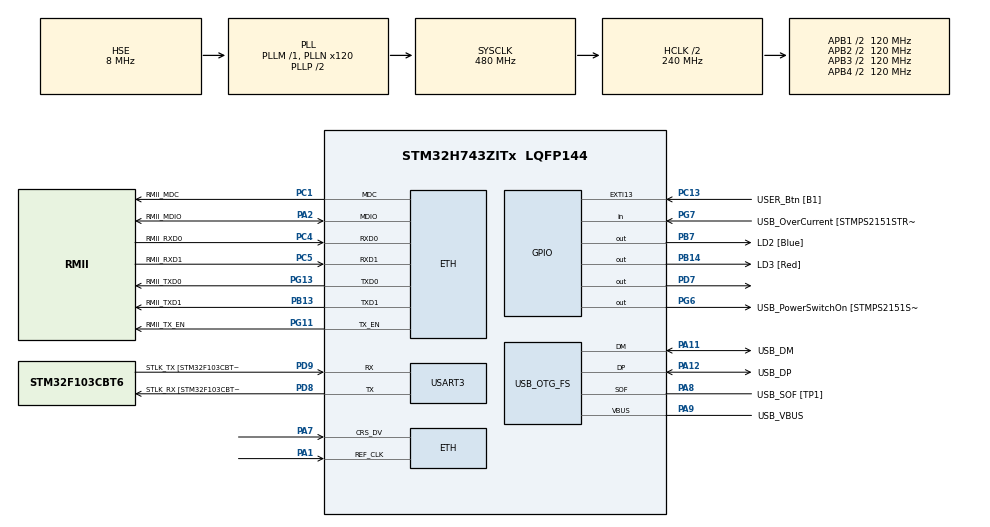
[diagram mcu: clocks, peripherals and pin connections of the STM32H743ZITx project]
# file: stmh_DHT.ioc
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Mcu.Family=STM32H7
RCC.CortexFreq_Value=480000000
PG6.Signal=GPIO_Output
RCC.HPRE=RCC_HCLK_DIV2
PH0-OSC_IN\ (PH0).Signal=RCC_OSC_IN
PB14.GPIO_Label=LD3 [Red]
PG6.GPIO_Label=USB_PowerSwitchOn [STMPS2151STR_EN]
PC15-OSC32_OUT\ (OSC32_OUT).Mode=LSE-External-Oscillator
RCC.SYSCLKSourceVirtual=RCC_SYSCLKSOURCE_PLLCLK
RCC.PLLFRACN=0
PA11.Mode=Device_Only
RCC.PLL2FRACN=0
PC5.Mode=RMII
PC13.GPIO_Label=USER_Btn [B1]
PB13.GPIO_Label=RMII_TXD1
PB13.Signal=ETH_TXD1
PG13.Signal=ETH_TXD0
PD9.Mode=Asynchronous
PG11.Signal=ETH_TX_EN
RCC.SYSCLKSource=RCC_SYSCLKSOURCE_PLLCLK
ProjectManager.StackSize=0x400
USART3.VirtualMode-Asynchronous=VM_ASYNC
PA12.Signal=USB_OTG_FS_DP
RCC.HCLKFreq_Value=240000000
RCC.APB2TimFreq_Value=216000000
PD8.Signal=USART3_TX
RCC.AHBFreq_Value=216000000
PH1-OSC_OUT\ (PH1).Mode=HSE-External-Oscillator
RCC.HSE_VALUE=8000000
RCC.DIVM1=1
RCC.PLLMUL=RCC_PLL_MUL9
PC4.GPIO_Label=RMII_RXD0
PA10.GPIO_Label=USB_ID
PB7.Signal=GPIO_Output
PA8.Signal=USB_OTG_FS_SOF
PG13.Mode=RMII
RCC.APB3Freq_Value=120000000
PB7.GPIO_Label=LD2 [Blue]
Mcu.Package=LQFP144
RCC.PLL3FRACN=0
RCC.D1PPRE=RCC_APB3_DIV2
PA2.GPIO_Label=RMII_MDIO
PA10.Signal=USB_OTG_FS_ID
USB_OTG_FS.VirtualMode=Device_Only
PC14-OSC32_IN\ (OSC32_IN).Mode=LSE-External-Oscillator
RCC.APB2CLKDivider=RCC_HCLK_DIV2
RCC.APB4Freq_Value=120000000
RCC.APB1TimFreq_Value=108000000
PG11.GPIO_Label=RMII_TX_EN
PC5.Signal=ETH_RXD1
PB13.Mode=RMII
PH0-OSC_IN\ (PH0).Mode=HSE-External-Oscillator
PC4.Mode=RMII
RCC.DIVQ1=20
PA7.Mode=RMII
PG7.Signal=GPIO_Input
PD9.GPIO_Label=STLK_TX [STM32F103CBT6_PA2]
PC13.Signal=GPXTI13
PA9.GPIO_Label=USB_VBUS
PC4.Signal=ETH_RXD0
PD7.Signal=GPIO_Output
RCC.D2PPRE2=RCC_APB2_DIV2
PA11.GPIO_Label=USB_DM
RCC.D2PPRE1=RCC_APB1_DIV2
PD9.Signal=USART3_RX
RCC.APB1CLKDivider=RCC_HCLK_DIV4
PG13.GPIO_Label=RMII_TXD0
PA12.GPIO_Label=USB_DP
RCC.PWR_Regulator_Voltage_Scale=PWR_REGULATOR_VOLTAGE_SCALE1
PH1-OSC_OUT\ (PH1).Signal=RCC_OSC_OUT
PD8.GPIO_Label=STLK_RX [STM32F103CBT6_PA3]
PA9.Mode=Activate_VBUS
PA8.GPIO_Label=USB_SOF [TP1]
ProjectManager.TargetToolchain=TrueSTUDIO
PC15-OSC32_OUT\ (OSC32_OUT).Signal=RCC_OSC32_OUT
PA9.Signal=USB_OTG_FS_VBUS
RCC.DIVN1=120
RCC.USBFreq_Value=48000000
PD8.Mode=Asynchronous
PA1.Signal=ETH_REF_CLK
PB14.Signal=GPIO_Output
board=NUCLEO-H743ZI
RCC.VCOOutputFreq_Value=432000000
RCC.APB2Freq_Value=120000000
PA1.Mode=RMII
RCC.PRESCALERUSB=RCC_USBCLKSOURCE_PLL_DIV1_5
VP_TIM2_VS_ClockSourceINT.Mode=Internal
PG7.GPIO_Label=USB_OverCurrent [STMPS2151STR_FAULT]
RCC.ADCFreq_Value=16125000
PC1.GPIO_Label=RMII_MDC
Mcu.Name=STM32H743ZITx
PA2.Signal=ETH_MDIO
RCC.48MHZClocksFreq_Value=24000000
RCC.SYSCLKFreq_VALUE=480000000
ETH.MediaInterface=HAL_ETH_RMII_MODE
PA12.Mode=Device_Only
PC5.GPIO_Label=RMII_RXD1
PC14-OSC32_IN\ (OSC32_IN).Signal=RCC_OSC32_IN
PG11.Mode=RMII
PA11.Signal=USB_OTG_FS_DM
ProjectManager.HeapSize=0x200
RCC.HSI_VALUE=64000000
RCC.PLLQ=9
NVIC.PriorityGroup=NVIC_PRIORITYGROUP_4
PH0-OSC_IN\ (PH0).GPIO_Label=MCO
RCC.PLLM=25
RCC.PLLN=432
PA2.Mode=RMII
RCC.D3PPRE=RCC_APB4_DIV2
PA8.Mode=Activate_SOF_FS
RCC.APB1Freq_Value=120000000
PC1.Signal=ETH_MDC
PC1.Mode=RMII
PA7.Signal=ETH_CRS_DV

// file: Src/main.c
/* USER CODE BEGIN Header */
/**
  ******************************************************************************
  * @file           : main.c
  * @brief          : Main program body
  ******************************************************************************
  * @attention
  *
  * <h2><center>&copy; Copyright (c) 2021 STMicroelectronics.
  * All rights reserved.</center></h2>
  *
  * This software component is licensed by ST under BSD 3-Clause license,
  * the "License"; You may not use this file except in compliance with the
  * License. You may obtain a copy of the License at:
  *                        opensource.org/licenses/BSD-3-Clause
  *
  ******************************************************************************
  */
/* USER CODE END Header */

#include "main.h"
#include "string.h"

#if defined ( __ICCARM__ ) /*!< IAR Compiler */

#pragma location=0x30040000
ETH_DMADescTypeDef  DMARxDscrTab[ETH_RX_DESC_CNT]; /* Ethernet Rx DMA Descriptors */
#pragma location=0x30040060
ETH_DMADescTypeDef  DMATxDscrTab[ETH_TX_DESC_CNT]; /* Ethernet Tx DMA Descriptors */
#pragma location=0x30040200
uint8_t Rx_Buff[ETH_RX_DESC_CNT][ETH_MAX_PACKET_SIZE]; /* Ethernet Receive Buffers */

#elif defined ( __CC_ARM )  /* MDK ARM Compiler */

__attribute__((at(0x30040000))) ETH_DMADescTypeDef  DMARxDscrTab[ETH_RX_DESC_CNT]; /* Ethernet Rx DMA Descriptors */
__attribute__((at(0x30040060))) ETH_DMADescTypeDef  DMATxDscrTab[ETH_TX_DESC_CNT]; /* Ethernet Tx DMA Descriptors */
__attribute__((at(0x30040200))) uint8_t Rx_Buff[ETH_RX_DESC_CNT][ETH_MAX_PACKET_SIZE]; /* Ethernet Receive Buffer */

#elif defined ( __GNUC__ ) /* GNU Compiler */

ETH_DMADescTypeDef DMARxDscrTab[ETH_RX_DESC_CNT] __attribute__((section(".RxDecripSection"))); /* Ethernet Rx DMA Descriptors */
ETH_DMADescTypeDef DMATxDscrTab[ETH_TX_DESC_CNT] __attribute__((section(".TxDecripSection")));   /* Ethernet Tx DMA Descriptors */
uint8_t Rx_Buff[ETH_RX_DESC_CNT][ETH_MAX_PACKET_SIZE] __attribute__((section(".RxArraySection"))); /* Ethernet Receive Buffers */

#endif

ETH_TxPacketConfig TxConfig;

ETH_HandleTypeDef heth;

TIM_HandleTypeDef htim2;

UART_HandleTypeDef huart3;

PCD_HandleTypeDef hpcd_USB_OTG_FS;

void SystemClock_Config(void);
static void MX_GPIO_Init(void);
static void MX_ETH_Init(void);
static void MX_TIM2_Init(void);
static void MX_USART3_UART_Init(void);
static void MX_USB_OTG_FS_PCD_Init(void);
/* USER CODE BEGIN PFP */
uint16_t g[100];

/* USER CODE END PFP */

/* USER CODE BEGIN 0 */
void delay (uint16_t time)
{
	/* change your code here for the delay in microseconds */

	__HAL_TIM_SET_COUNTER(&htim2, 0);
	while ((__HAL_TIM_GET_COUNTER(&htim2))<time);
}

uint8_t Rh_byte1, Rh_byte2, Temp_byte1, Temp_byte2;
uint16_t SUM, RH, TEMP;

float Temperature = 0;
float Humidity = 0;
uint8_t Presence = 0;

void Set_Pin_Output (GPIO_TypeDef *GPIOx, uint16_t GPIO_Pin)
{
	GPIO_InitTypeDef GPIO_InitStruct = {0};
	GPIO_InitStruct.Pin = GPIO_Pin;
	GPIO_InitStruct.Mode = GPIO_MODE_OUTPUT_PP;
	GPIO_InitStruct.Speed = GPIO_SPEED_FREQ_LOW;
	HAL_GPIO_Init(GPIOx, &GPIO_InitStruct);
}

void Set_Pin_Input (GPIO_TypeDef *GPIOx, uint16_t GPIO_Pin)
{
	GPIO_InitTypeDef GPIO_InitStruct = {0};
	GPIO_InitStruct.Pin = GPIO_Pin;
	GPIO_InitStruct.Mode = GPIO_MODE_INPUT;
	GPIO_InitStruct.Pull = GPIO_PULLUP;
	HAL_GPIO_Init(GPIOx, &GPIO_InitStruct);
}

void DHT11_Start (void)
{
	Set_Pin_Output(DHT22_GPIO_Port, DHT22_Pin);  // set the pin as output
	HAL_GPIO_WritePin (DHT22_GPIO_Port, DHT22_Pin, 0);   // pull the pin low
	delay (18000);   // wait for 18ms
    HAL_GPIO_WritePin (DHT22_GPIO_Port, DHT22_Pin, 1);   // pull the pin high
	delay (20);   // wait for 20us
	Set_Pin_Input(DHT22_GPIO_Port, DHT22_Pin);    // set as input
}

uint8_t DHT11_Check_Response (void)
{
	uint8_t Response = 0;
	delay (40);
	if (!(HAL_GPIO_ReadPin (DHT22_GPIO_Port, DHT22_Pin)))
	{
		delay (80);
		if ((HAL_GPIO_ReadPin (DHT22_GPIO_Port, DHT22_Pin))) Response = 1;
		else Response = -1; // 255
	}
	while ((HAL_GPIO_ReadPin (DHT22_GPIO_Port, DHT22_Pin)));   // wait for the pin to go low

	return Response;
}

uint8_t DHT11_Read (void)
{
	uint8_t i,j;
	for (j=0;j<8;j++)
	{
		while (!(HAL_GPIO_ReadPin (DHT22_GPIO_Port, DHT22_Pin)));   // wait for the pin to go high
		delay (40);   // wait for 40 us
		if (!(HAL_GPIO_ReadPin (DHT22_GPIO_Port, DHT22_Pin)))   // if the pin is low
		{
			i&= ~(1<<(7-j));   // write 0
		}
		else i|= (1<<(7-j));  // if the pin is high, write 1
		while ((HAL_GPIO_ReadPin (DHT22_GPIO_Port, DHT22_Pin)));  // wait for the pin to go low
	}
	return i;
}
/*
 * USER CODE END 0 */

int main(void)
{

  /* MCU Configuration--------------------------------------------------------*/

  /* Reset of all peripherals, Initializes the Flash interface and the Systick. */
  HAL_Init();

  /* Configure the system clock */
  SystemClock_Config();

  /* Initialize all configured peripherals */
  MX_GPIO_Init();
  MX_ETH_Init();
  MX_TIM2_Init();
  MX_USART3_UART_Init();
  MX_USB_OTG_FS_PCD_Init();
  /* USER CODE BEGIN 2 */
  HAL_TIM_Base_Init(&htim2);
  HAL_TIM_Base_Start_IT(&htim2);
  uint32_t i=0;
	char buffer[1999];

  /* USER CODE END 2 */

  /* Infinite loop */
  /* USER CODE BEGIN WHILE */
  while (1)
  {
	  i+=1;

	  sprintf(g,"\n\r hello Mohamed No: %d",i);
	  HAL_UART_Transmit(&huart3,g,strlen(g),1000);
	  HAL_GPIO_TogglePin(LD2_GPIO_Port,LD2_Pin);
	  delay(50000);
	  DHT11_Start();
   //  Set_Pin_Input(DHT22_GPIO_Port, DHT22_Pin);    // set as input
	  Presence = DHT11_Check_Response();
	  Rh_byte1 = DHT11_Read ();
	  Rh_byte2 = DHT11_Read ();
	  Temp_byte1 = DHT11_Read ();
	  Temp_byte2 = DHT11_Read ();
	  SUM = DHT11_Read();
	  TEMP = Temp_byte1;
	  RH = Rh_byte1;
	  //Temperature = (float) TEMP;
	  // Humidity = (float) RH;
	  sprintf(buffer,"temp=%d.%d hum=%d.%d\n\r",Temp_byte1,Temp_byte2,Rh_byte1,Rh_byte2);
	  HAL_UART_Transmit(&huart3,buffer,strlen(buffer),1000);
	//  HAL_Delay(1000);
    /* USER CODE END WHILE */

  }
}

void SystemClock_Config(void)
{
  RCC_OscInitTypeDef RCC_OscInitStruct = {0};
  RCC_ClkInitTypeDef RCC_ClkInitStruct = {0};
  RCC_PeriphCLKInitTypeDef PeriphClkInitStruct = {0};

  /** Supply configuration update enable
  */
  HAL_PWREx_ConfigSupply(PWR_LDO_SUPPLY);
  /** Configure the main internal regulator output voltage
  */
  __HAL_PWR_VOLTAGESCALING_CONFIG(PWR_REGULATOR_VOLTAGE_SCALE1);

  while(!__HAL_PWR_GET_FLAG(PWR_FLAG_VOSRDY)) {}
  /** Initializes the CPU, AHB and APB busses clocks
  */
  RCC_OscInitStruct.OscillatorType = RCC_OSCILLATORTYPE_HSE;
  RCC_OscInitStruct.HSEState = RCC_HSE_ON;
  RCC_OscInitStruct.PLL.PLLState = RCC_PLL_ON;
  RCC_OscInitStruct.PLL.PLLSource = RCC_PLLSOURCE_HSE;
  RCC_OscInitStruct.PLL.PLLM = 1;
  RCC_OscInitStruct.PLL.PLLN = 120;
  RCC_OscInitStruct.PLL.PLLP = 2;
  RCC_OscInitStruct.PLL.PLLQ = 20;
  RCC_OscInitStruct.PLL.PLLR = 2;
  RCC_OscInitStruct.PLL.PLLRGE = RCC_PLL1VCIRANGE_3;
  RCC_OscInitStruct.PLL.PLLVCOSEL = RCC_PLL1VCOWIDE;
  RCC_OscInitStruct.PLL.PLLFRACN = 0;
  if (HAL_RCC_OscConfig(&RCC_OscInitStruct) != HAL_OK)
  {
    Error_Handler();
  }
  /** Initializes the CPU, AHB and APB busses clocks
  */
  RCC_ClkInitStruct.ClockType = RCC_CLOCKTYPE_HCLK|RCC_CLOCKTYPE_SYSCLK
                              |RCC_CLOCKTYPE_PCLK1|RCC_CLOCKTYPE_PCLK2
                              |RCC_CLOCKTYPE_D3PCLK1|RCC_CLOCKTYPE_D1PCLK1;
  RCC_ClkInitStruct.SYSCLKSource = RCC_SYSCLKSOURCE_PLLCLK;
  RCC_ClkInitStruct.SYSCLKDivider = RCC_SYSCLK_DIV1;
  RCC_ClkInitStruct.AHBCLKDivider = RCC_HCLK_DIV2;
  RCC_ClkInitStruct.APB3CLKDivider = RCC_APB3_DIV2;
  RCC_ClkInitStruct.APB1CLKDivider = RCC_APB1_DIV2;
  RCC_ClkInitStruct.APB2CLKDivider = RCC_APB2_DIV2;
  RCC_ClkInitStruct.APB4CLKDivider = RCC_APB4_DIV2;

  if (HAL_RCC_ClockConfig(&RCC_ClkInitStruct, FLASH_LATENCY_4) != HAL_OK)
  {
    Error_Handler();
  }
  PeriphClkInitStruct.PeriphClockSelection = RCC_PERIPHCLK_USART3|RCC_PERIPHCLK_USB;
  PeriphClkInitStruct.Usart234578ClockSelection = RCC_USART234578CLKSOURCE_D2PCLK1;
  PeriphClkInitStruct.UsbClockSelection = RCC_USBCLKSOURCE_PLL;
  if (HAL_RCCEx_PeriphCLKConfig(&PeriphClkInitStruct) != HAL_OK)
  {
    Error_Handler();
  }
  /** Enable USB Voltage detector
  */
  HAL_PWREx_EnableUSBVoltageDetector();
}

static void MX_ETH_Init(void)
{

  heth.Instance = ETH;
  heth.Init.MACAddr[0] =   0x00;
  heth.Init.MACAddr[1] =   0x80;
  heth.Init.MACAddr[2] =   0xE1;
  heth.Init.MACAddr[3] =   0x00;
  heth.Init.MACAddr[4] =   0x00;
  heth.Init.MACAddr[5] =   0x00;
  heth.Init.MediaInterface = HAL_ETH_RMII_MODE;
  heth.Init.TxDesc = DMATxDscrTab;
  heth.Init.RxDesc = DMARxDscrTab;
  heth.Init.RxBuffLen = 1524;

  if (HAL_ETH_Init(&heth) != HAL_OK)
  {
    Error_Handler();
  }

  memset(&TxConfig, 0 , sizeof(ETH_TxPacketConfig));
  TxConfig.Attributes = ETH_TX_PACKETS_FEATURES_CSUM | ETH_TX_PACKETS_FEATURES_CRCPAD;
  TxConfig.ChecksumCtrl = ETH_CHECKSUM_IPHDR_PAYLOAD_INSERT_PHDR_CALC;
  TxConfig.CRCPadCtrl = ETH_CRC_PAD_INSERT;

}

static void MX_TIM2_Init(void)
{

  TIM_ClockConfigTypeDef sClockSourceConfig = {0};
  TIM_MasterConfigTypeDef sMasterConfig = {0};

  htim2.Instance = TIM2;
  htim2.Init.Prescaler = 239;
  htim2.Init.CounterMode = TIM_COUNTERMODE_UP;
  htim2.Init.Period = 0xFFFF;
  htim2.Init.ClockDivision = TIM_CLOCKDIVISION_DIV1;
  htim2.Init.AutoReloadPreload = TIM_AUTORELOAD_PRELOAD_DISABLE;
  if (HAL_TIM_Base_Init(&htim2) != HAL_OK)
  {
    Error_Handler();
  }
  sClockSourceConfig.ClockSource = TIM_CLOCKSOURCE_INTERNAL;
  if (HAL_TIM_ConfigClockSource(&htim2, &sClockSourceConfig) != HAL_OK)
  {
    Error_Handler();
  }
  sMasterConfig.MasterOutputTrigger = TIM_TRGO_RESET;
  sMasterConfig.MasterSlaveMode = TIM_MASTERSLAVEMODE_DISABLE;
  if (HAL_TIMEx_MasterConfigSynchronization(&htim2, &sMasterConfig) != HAL_OK)
  {
    Error_Handler();
  }

}

static void MX_USART3_UART_Init(void)
{

  huart3.Instance = USART3;
  huart3.Init.BaudRate = 115200;
  huart3.Init.WordLength = UART_WORDLENGTH_8B;
  huart3.Init.StopBits = UART_STOPBITS_1;
  huart3.Init.Parity = UART_PARITY_NONE;
  huart3.Init.Mode = UART_MODE_TX_RX;
  huart3.Init.HwFlowCtl = UART_HWCONTROL_NONE;
  huart3.Init.OverSampling = UART_OVERSAMPLING_16;
  huart3.Init.OneBitSampling = UART_ONE_BIT_SAMPLE_DISABLE;
  huart3.Init.ClockPrescaler = UART_PRESCALER_DIV1;
  huart3.AdvancedInit.AdvFeatureInit = UART_ADVFEATURE_NO_INIT;
  if (HAL_UART_Init(&huart3) != HAL_OK)
  {
    Error_Handler();
  }
  if (HAL_UARTEx_SetTxFifoThreshold(&huart3, UART_TXFIFO_THRESHOLD_1_8) != HAL_OK)
  {
    Error_Handler();
  }
  if (HAL_UARTEx_SetRxFifoThreshold(&huart3, UART_RXFIFO_THRESHOLD_1_8) != HAL_OK)
  {
    Error_Handler();
  }
  if (HAL_UARTEx_DisableFifoMode(&huart3) != HAL_OK)
  {
    Error_Handler();
  }

}

static void MX_USB_OTG_FS_PCD_Init(void)
{

  hpcd_USB_OTG_FS.Instance = USB_OTG_FS;
  hpcd_USB_OTG_FS.Init.dev_endpoints = 9;
  hpcd_USB_OTG_FS.Init.speed = PCD_SPEED_FULL;
  hpcd_USB_OTG_FS.Init.dma_enable = DISABLE;
  hpcd_USB_OTG_FS.Init.phy_itface = PCD_PHY_EMBEDDED;
  hpcd_USB_OTG_FS.Init.Sof_enable = ENABLE;
  hpcd_USB_OTG_FS.Init.low_power_enable = DISABLE;
  hpcd_USB_OTG_FS.Init.lpm_enable = DISABLE;
  hpcd_USB_OTG_FS.Init.battery_charging_enable = ENABLE;
  hpcd_USB_OTG_FS.Init.vbus_sensing_enable = ENABLE;
  hpcd_USB_OTG_FS.Init.use_dedicated_ep1 = DISABLE;
  if (HAL_PCD_Init(&hpcd_USB_OTG_FS) != HAL_OK)
  {
    Error_Handler();
  }

}

static void MX_GPIO_Init(void)
{
  GPIO_InitTypeDef GPIO_InitStruct = {0};

  /* GPIO Ports Clock Enable */
  __HAL_RCC_GPIOC_CLK_ENABLE();
  __HAL_RCC_GPIOH_CLK_ENABLE();
  __HAL_RCC_GPIOA_CLK_ENABLE();
  __HAL_RCC_GPIOB_CLK_ENABLE();
  __HAL_RCC_GPIOD_CLK_ENABLE();
  __HAL_RCC_GPIOG_CLK_ENABLE();

  /*Configure GPIO pin Output Level */
  HAL_GPIO_WritePin(GPIOB, LD3_Pin|LD2_Pin, GPIO_PIN_RESET);

  /*Configure GPIO pin Output Level */
  HAL_GPIO_WritePin(USB_PowerSwitchOn_GPIO_Port, USB_PowerSwitchOn_Pin, GPIO_PIN_RESET);

  /*Configure GPIO pin Output Level */
  HAL_GPIO_WritePin(GPIOD, GPIO_PIN_7, GPIO_PIN_RESET);

  /*Configure GPIO pin : USER_Btn_Pin */
  GPIO_InitStruct.Pin = USER_Btn_Pin;
  GPIO_InitStruct.Mode = GPIO_MODE_IT_RISING;
  GPIO_InitStruct.Pull = GPIO_NOPULL;
  HAL_GPIO_Init(USER_Btn_GPIO_Port, &GPIO_InitStruct);

  /*Configure GPIO pins : LD3_Pin LD2_Pin */
  GPIO_InitStruct.Pin = LD3_Pin|LD2_Pin;
  GPIO_InitStruct.Mode = GPIO_MODE_OUTPUT_PP;
  GPIO_InitStruct.Pull = GPIO_NOPULL;
  GPIO_InitStruct.Speed = GPIO_SPEED_FREQ_LOW;
  HAL_GPIO_Init(GPIOB, &GPIO_InitStruct);

  /*Configure GPIO pin : USB_PowerSwitchOn_Pin */
  GPIO_InitStruct.Pin = USB_PowerSwitchOn_Pin;
  GPIO_InitStruct.Mode = GPIO_MODE_OUTPUT_PP;
  GPIO_InitStruct.Pull = GPIO_NOPULL;
  GPIO_InitStruct.Speed = GPIO_SPEED_FREQ_LOW;
  HAL_GPIO_Init(USB_PowerSwitchOn_GPIO_Port, &GPIO_InitStruct);

  /*Configure GPIO pin : USB_OverCurrent_Pin */
  GPIO_InitStruct.Pin = USB_OverCurrent_Pin;
  GPIO_InitStruct.Mode = GPIO_MODE_INPUT;
  GPIO_InitStruct.Pull = GPIO_NOPULL;
  HAL_GPIO_Init(USB_OverCurrent_GPIO_Port, &GPIO_InitStruct);

  /*Configure GPIO pin : PD7 */
  GPIO_InitStruct.Pin = GPIO_PIN_7;
  GPIO_InitStruct.Mode = GPIO_MODE_OUTPUT_PP;
  GPIO_InitStruct.Pull = GPIO_NOPULL;
  GPIO_InitStruct.Speed = GPIO_SPEED_FREQ_LOW;
  HAL_GPIO_Init(GPIOD, &GPIO_InitStruct);

}

void Error_Handler(void)
{
}

/************************ (C) COPYRIGHT STMicroelectronics *****END OF FILE****/
